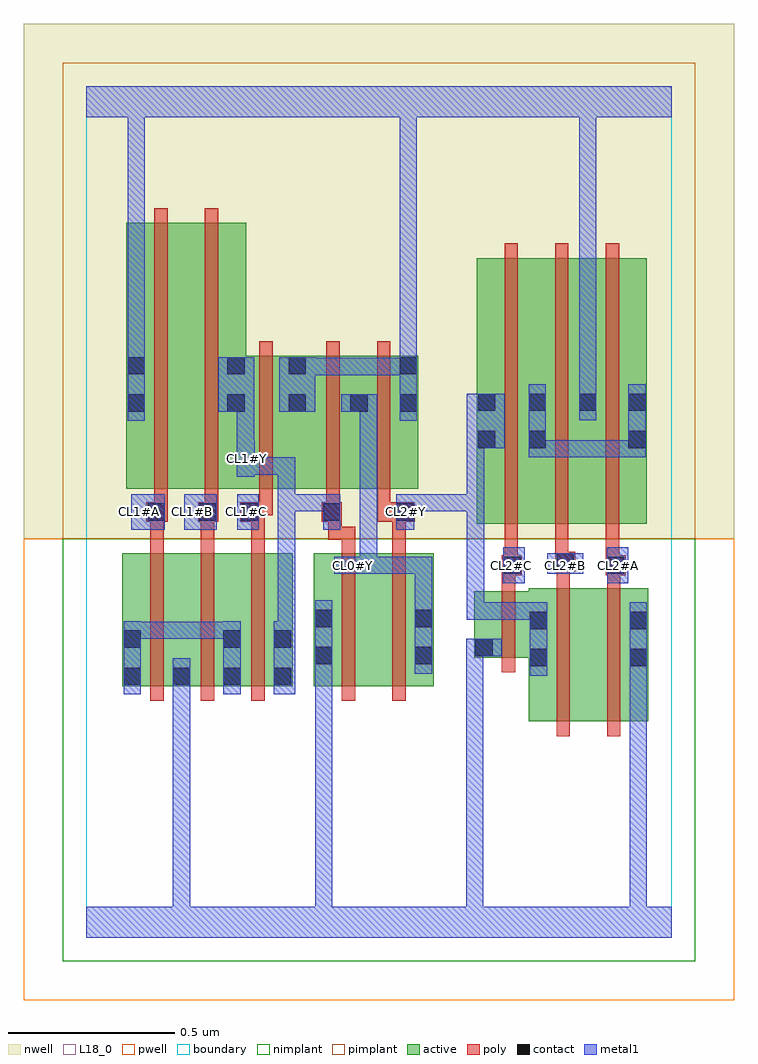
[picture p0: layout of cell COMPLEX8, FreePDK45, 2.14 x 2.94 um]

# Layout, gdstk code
import gdstk
lib = gdstk.Library(unit=1e-6, precision=1e-09)
def R(c, l, rs):  # rectangles x0, y0, x1, y1
    for r in rs: c.add(gdstk.rectangle(r[:2], r[2:], *l))
def A(c, l, x, y, w, h, nx, ny, dx, dy):  # array of equal rectangles
    R(c, l, [(x+i*dx, y+j*dy, x+i*dx+w, y+j*dy+h) for i in range(nx) for j in range(ny)])
active = (1, 0)
pwell = (2, 0)
nwell = (3, 0)
nimplant = (4, 0)
pimplant = (5, 0)
poly = (9, 0)
contact = (10, 0)
metal1 = (11, 0)
L18_0 = (18, 0)
boundary = (235, 0)

complex8 = lib.new_cell('COMPLEX8')
A(complex8, active, 0.256, 0.756, 0.06, 0.4, 3, 1, 0.152, 0)
R(complex8, active, [(1.33,0.65,1.51,1.05), (1.51,0.65,1.69,1.05), (0.108,0.756,0.168,1.156), (0.108,0.756,0.316,1.156), (0.256,0.756,0.468,1.156), (0.408,0.756,0.62,1.156), (0.684,0.756,0.864,1.156), (0.684,0.756,0.744,1.156), (0.864,0.756,1.044,1.156), (0.984,0.756,1.044,1.156), (1.63,0.756,1.69,1.05), (1.33,0.812,1.39,1.028), (1.166,0.842,1.39,1.042), (1.166,0.842,1.226,1.042), (1.174,1.244,1.234,2.044), (1.174,1.244,1.386,2.044), (1.326,1.244,1.538,2.044), (1.478,1.244,1.686,2.044), (1.626,1.244,1.686,2.044), (1.326,1.256,1.386,2.044), (1.478,1.338,1.538,2.044), (0.12,1.35,0.3,2.15), (0.12,1.35,0.18,2.044), (0.3,1.35,0.48,2.15), (0.42,1.35,0.664,1.75), (0.42,1.35,0.48,1.78), (0.604,1.35,0.664,1.75), (0.604,1.35,0.85,1.75), (0.79,1.35,0.998,1.75), (0.938,1.35,0.998,1.75), (0.79,1.578,0.85,1.644)])
R(complex8, pwell, [(-0.188,-0.188,1.948,1.2)])
R(complex8, nwell, [(-0.188,1.2,1.948,2.748)])
R(complex8, nimplant, [(-0.072,-0.072,1.832,1.2)])
R(complex8, pimplant, [(-0.072,1.2,1.832,2.632)])
A(complex8, poly, 0.192, 0.712, 0.04, 0.488, 3, 1, 0.152, 0)
A(complex8, poly, 0.192, 1.16, 0.04, 0.13, 3, 1, 0.152, 0)
A(complex8, poly, 1.258, 1.2, 0.04, 0.888, 3, 1, 0.152, 0)
R(complex8, poly, [(1.414,0.606,1.454,1.094), (1.566,0.606,1.606,1.094), (0.768,0.712,0.808,1.2), (0.92,0.712,0.96,1.2), (1.25,0.798,1.29,1.086), (1.25,1.046,1.29,1.13), (1.414,1.054,1.454,1.14), (1.566,1.054,1.606,1.13), (1.25,1.09,1.31,1.15), (1.562,1.09,1.622,1.15), (1.566,1.09,1.606,1.13), (1.566,1.09,1.606,1.13), (1.41,1.1,1.47,1.16), (1.414,1.1,1.454,1.14), (1.414,1.1,1.454,1.14), (1.258,1.11,1.298,1.24), (1.258,1.11,1.298,1.15), (1.258,1.11,1.298,1.15), (1.562,1.11,1.602,1.24), (1.41,1.12,1.45,1.24), (0.768,1.16,0.808,1.236), (0.92,1.16,0.96,1.29), (0.728,1.196,0.768,1.29), (0.728,1.196,0.808,1.236), (0.18,1.25,0.244,1.31), (0.192,1.25,0.232,1.29), (0.192,1.25,0.232,1.29), (0.336,1.25,0.396,1.31), (0.344,1.25,0.384,1.29), (0.344,1.25,0.384,1.29), (0.462,1.25,0.536,1.31), (0.708,1.25,0.768,1.31), (0.874,1.25,0.988,1.31), (0.92,1.25,0.96,1.29), (0.92,1.25,0.96,1.29), (0.204,1.27,0.244,1.346), (0.356,1.27,0.396,1.346), (0.496,1.27,0.536,1.31), (0.496,1.27,0.56,1.31), (0.52,1.27,0.56,1.346), (0.722,1.27,0.762,1.346), (0.874,1.27,0.914,1.346), (0.204,1.306,0.244,2.194), (0.356,1.306,0.396,2.194), (0.52,1.306,0.56,1.794), (0.722,1.306,0.762,1.794), (0.874,1.306,0.914,1.794)])
A(complex8, contact, 0.26, 0.76, 0.052, 0.052, 3, 1, 0.152, 0)
A(complex8, contact, 1.178, 1.584, 0.052, 0.052, 3, 1, 0.152, 0)
R(complex8, contact, [(0.112,0.76,0.164,0.812), (1.334,0.816,1.386,0.868), (1.634,0.816,1.686,0.868), (0.688,0.822,0.74,0.874), (0.988,0.822,1.04,0.874), (1.17,0.846,1.222,0.898), (0.112,0.872,0.164,0.924), (0.412,0.872,0.464,0.924), (0.564,0.872,0.616,0.924), (1.334,0.928,1.386,0.98), (1.634,0.928,1.686,0.98), (0.688,0.934,0.74,0.986), (0.988,0.934,1.04,0.986), (1.254,1.094,1.306,1.146), (1.566,1.094,1.618,1.146), (1.414,1.104,1.466,1.156), (0.184,1.254,0.236,1.306), (0.34,1.254,0.392,1.306), (0.466,1.254,0.518,1.306), (0.712,1.254,0.764,1.306), (0.932,1.254,0.984,1.306), (1.178,1.472,1.23,1.524), (1.33,1.472,1.382,1.524), (1.63,1.472,1.682,1.524), (0.124,1.582,0.176,1.634), (0.424,1.582,0.476,1.634), (0.608,1.582,0.66,1.634), (0.794,1.582,0.846,1.634), (0.942,1.582,0.994,1.634), (1.63,1.584,1.682,1.636), (0.124,1.694,0.176,1.746), (0.424,1.694,0.476,1.746), (0.608,1.694,0.66,1.746), (0.942,1.694,0.994,1.746)])
R(complex8, metal1, [(0,0,1.76,0.092), (0.26,0.04,0.312,0.092), (0.26,0.04,0.312,0.092), (0.26,0.04,0.312,0.092), (0.26,0.04,0.312,0.092), (0.26,0.04,0.312,0.092), (0.26,0.04,0.312,0.092), (0.26,0.04,0.312,0.092), (0.26,0.04,0.312,0.092), (0.26,0.04,0.312,0.092), (0.26,0.04,0.312,0.092), (0.26,0.04,0.312,0.092), (0.26,0.04,0.312,0.092), (0.26,0.04,0.312,0.784), (0.688,0.04,0.74,0.092), (0.688,0.04,0.74,0.092), (0.688,0.04,0.74,0.092), (0.688,0.04,0.74,0.092), (0.688,0.04,0.74,0.092), (0.688,0.04,0.74,0.092), (0.688,0.04,0.74,0.092), (0.688,0.04,0.74,0.092), (0.688,0.04,0.74,0.092), (0.688,0.04,0.74,0.092), (0.688,0.04,0.74,0.092), (0.688,0.04,0.74,0.092), (0.688,0.04,0.74,0.846), (1.142,0.04,1.194,0.092), (1.142,0.04,1.194,0.092), (1.142,0.04,1.194,0.092), (1.142,0.04,1.194,0.092), (1.142,0.04,1.194,0.092), (1.142,0.04,1.194,0.092), (1.142,0.04,1.194,0.092), (1.142,0.04,1.194,0.092), (1.142,0.04,1.194,0.092), (1.142,0.04,1.194,0.092), (1.142,0.04,1.194,0.898), (1.634,0.04,1.686,0.092), (1.634,0.04,1.686,0.092), (1.634,0.04,1.686,0.092), (1.634,0.04,1.686,0.092), (1.634,0.04,1.686,0.092), (1.634,0.04,1.686,0.092), (1.634,0.04,1.686,0.092), (1.634,0.04,1.686,0.092), (1.634,0.04,1.686,0.092), (1.634,0.04,1.686,0.092), (1.634,0.04,1.686,0.092), (1.634,0.04,1.686,0.092), (1.634,0.04,1.686,0.84), (0.112,0.732,0.164,0.952), (0.26,0.732,0.312,0.84), (0.412,0.732,0.464,0.952), (0.564,0.732,0.628,0.952), (1.334,0.788,1.386,1.008), (1.634,0.788,1.686,1.008), (0.688,0.794,0.74,1.014), (0.988,0.794,1.04,1.014), (1.142,0.846,1.194,0.898), (1.142,0.846,1.194,0.898), (1.142,0.846,1.194,0.898), (1.142,0.846,1.194,0.898), (1.142,0.846,1.194,0.898), (1.142,0.846,1.194,0.898), (1.142,0.846,1.25,0.898), (0.112,0.898,0.164,0.95), (0.112,0.898,0.164,0.95), (0.112,0.898,0.338,0.95), (0.286,0.898,0.338,0.95), (0.286,0.898,0.338,0.95), (0.286,0.898,0.338,0.95), (0.286,0.898,0.464,0.95), (0.576,0.9,0.628,0.952), (0.576,0.9,0.628,0.952), (0.576,0.9,0.628,1.334), (1.144,0.956,1.196,1.008), (1.144,0.956,1.196,1.008), (1.144,0.956,1.196,1.008), (1.144,0.956,1.386,1.008), (1.144,0.956,1.196,1.334), (0.988,0.962,1.04,1.146), (1.254,1.066,1.318,1.174), (1.566,1.066,1.63,1.174), (0.746,1.094,0.874,1.146), (0.822,1.094,1.04,1.146), (0.822,1.094,0.874,1.634), (0.988,1.094,1.04,1.146), (0.988,1.094,1.04,1.146), (0.988,1.094,1.04,1.146), (1.386,1.094,1.494,1.156), (0.134,1.226,0.236,1.334), (0.294,1.226,0.392,1.334), (0.454,1.226,0.518,1.334), (0.712,1.226,0.764,1.334), (0.932,1.226,0.986,1.334), (0.576,1.282,0.628,1.334), (0.576,1.282,0.628,1.334), (0.576,1.282,0.764,1.334), (0.576,1.282,0.628,1.444), (0.934,1.282,0.986,1.334), (0.934,1.282,0.986,1.334), (0.934,1.282,1.196,1.334), (1.144,1.282,1.196,1.334), (1.144,1.282,1.196,1.334), (1.144,1.282,1.196,1.334), (1.144,1.282,1.196,1.524), (0.452,1.386,0.506,1.494), (0.454,1.392,0.506,1.444), (0.454,1.392,0.506,1.444), (0.454,1.392,0.628,1.444), (0.452,1.442,0.504,1.634), (1.33,1.444,1.382,1.664), (1.33,1.444,1.508,1.496), (1.456,1.444,1.508,1.496), (1.456,1.444,1.508,1.496), (1.456,1.444,1.508,1.496), (1.456,1.444,1.682,1.496), (1.63,1.444,1.682,1.496), (1.63,1.444,1.682,1.496), (1.63,1.444,1.682,1.664), (1.144,1.472,1.258,1.636), (0.124,1.554,0.176,1.774), (0.942,1.554,0.994,1.774), (1.482,1.556,1.534,1.664), (0.396,1.582,0.504,1.746), (0.58,1.582,0.688,1.746), (0.766,1.582,0.874,1.634), (0.822,1.582,0.874,1.634), (0.822,1.582,0.874,1.634), (1.482,1.612,1.534,1.664), (1.482,1.612,1.534,1.664), (1.482,1.612,1.534,1.664), (1.482,1.612,1.534,1.664), (1.482,1.612,1.534,1.664), (1.482,1.612,1.534,1.664), (1.482,1.612,1.534,2.52), (0.636,1.692,0.798,1.744), (0.746,1.692,0.798,1.744), (0.746,1.692,0.798,1.744), (0.746,1.692,0.798,1.744), (0.746,1.692,0.994,1.744), (0.942,1.692,0.994,1.744), (0.942,1.692,0.994,1.744), (0.124,1.722,0.176,1.774), (0.124,1.722,0.176,1.774), (0.124,1.722,0.176,1.774), (0.124,1.722,0.176,1.774), (0.124,1.722,0.176,1.774), (0.124,1.722,0.176,1.774), (0.124,1.722,0.176,2.52), (0.942,1.722,0.994,1.774), (0.942,1.722,0.994,1.774), (0.942,1.722,0.994,1.774), (0.942,1.722,0.994,1.774), (0.942,1.722,0.994,1.774), (0.942,1.722,0.994,1.774), (0.942,1.722,0.994,1.774), (0.942,1.722,0.994,1.774), (0.942,1.722,0.994,1.774), (0.942,1.722,0.994,1.774), (0.942,1.722,0.994,1.774), (0.942,1.722,0.994,1.774), (0.942,1.722,0.994,1.774), (0.942,1.722,0.994,1.774), (0.942,1.722,0.994,1.774), (0.942,1.722,0.994,1.774), (0.942,1.722,0.994,2.52), (0,2.468,1.76,2.56), (0.124,2.468,0.176,2.52), (0.124,2.468,0.176,2.52), (1.482,2.468,1.534,2.52), (1.482,2.468,1.534,2.52)])
A(complex8, L18_0, 1.254, 1.094, 0.052, 0.052, 3, 1, 0.16, 0)
A(complex8, L18_0, 0.134, 1.254, 0.052, 0.052, 3, 1, 0.16, 0)
R(complex8, L18_0, [(0,0,1.76,0.092), (0.26,0.04,0.312,0.092), (0.26,0.04,0.312,0.092), (0.26,0.04,0.312,0.092), (0.26,0.04,0.312,0.092), (0.26,0.04,0.312,0.092), (0.26,0.04,0.312,0.092), (0.26,0.04,0.312,0.092), (0.26,0.04,0.312,0.092), (0.26,0.04,0.312,0.092), (0.26,0.04,0.312,0.092), (0.26,0.04,0.312,0.092), (0.26,0.04,0.312,0.092), (0.26,0.04,0.312,0.784), (0.688,0.04,0.74,0.092), (0.688,0.04,0.74,0.092), (0.688,0.04,0.74,0.092), (0.688,0.04,0.74,0.092), (0.688,0.04,0.74,0.092), (0.688,0.04,0.74,0.092), (0.688,0.04,0.74,0.092), (0.688,0.04,0.74,0.092), (0.688,0.04,0.74,0.092), (0.688,0.04,0.74,0.092), (0.688,0.04,0.74,0.092), (0.688,0.04,0.74,0.092), (0.688,0.04,0.74,0.846), (1.142,0.04,1.194,0.092), (1.142,0.04,1.194,0.092), (1.142,0.04,1.194,0.092), (1.142,0.04,1.194,0.092), (1.142,0.04,1.194,0.092), (1.142,0.04,1.194,0.092), (1.142,0.04,1.194,0.092), (1.142,0.04,1.194,0.092), (1.142,0.04,1.194,0.092), (1.142,0.04,1.194,0.092), (1.142,0.04,1.194,0.898), (1.634,0.04,1.686,0.092), (1.634,0.04,1.686,0.092), (1.634,0.04,1.686,0.092), (1.634,0.04,1.686,0.092), (1.634,0.04,1.686,0.092), (1.634,0.04,1.686,0.092), (1.634,0.04,1.686,0.092), (1.634,0.04,1.686,0.092), (1.634,0.04,1.686,0.092), (1.634,0.04,1.686,0.092), (1.634,0.04,1.686,0.092), (1.634,0.04,1.686,0.092), (1.634,0.04,1.686,0.84), (0.26,0.732,0.312,0.84), (0.564,0.732,0.628,0.952), (1.334,0.788,1.386,1.008), (1.634,0.788,1.686,1.008), (0.688,0.794,0.74,1.014), (0.988,0.794,1.04,1.014), (1.142,0.846,1.194,0.898), (1.142,0.846,1.194,0.898), (1.142,0.846,1.194,0.898), (1.142,0.846,1.194,0.898), (1.142,0.846,1.194,0.898), (1.142,0.846,1.194,0.898), (1.142,0.846,1.25,0.898), (0.576,0.9,0.628,0.952), (0.576,0.9,0.628,0.952), (0.576,0.9,0.628,1.334), (1.144,0.956,1.196,1.008), (1.144,0.956,1.196,1.008), (1.144,0.956,1.196,1.008), (1.144,0.956,1.196,1.334), (1.144,0.956,1.386,1.008), (0.988,0.962,1.04,1.146), (1.254,1.066,1.318,1.174), (1.566,1.066,1.63,1.174), (0.746,1.094,0.874,1.146), (0.774,1.094,0.826,1.146), (0.822,1.094,0.874,1.634), (0.822,1.094,1.04,1.146), (0.988,1.094,1.04,1.146), (0.988,1.094,1.04,1.146), (0.988,1.094,1.04,1.146), (1.386,1.094,1.494,1.156), (0.134,1.226,0.236,1.334), (0.294,1.226,0.392,1.334), (0.454,1.226,0.518,1.334), (0.712,1.226,0.764,1.334), (0.932,1.226,0.986,1.334), (0.934,1.254,0.986,1.306), (0.576,1.282,0.628,1.334), (0.576,1.282,0.628,1.334), (0.576,1.282,0.628,1.444), (0.576,1.282,0.764,1.334), (0.934,1.282,0.986,1.334), (0.934,1.282,0.986,1.334), (0.934,1.282,1.196,1.334), (1.144,1.282,1.196,1.334), (1.144,1.282,1.196,1.334), (1.144,1.282,1.196,1.334), (1.144,1.282,1.196,1.524), (0.452,1.386,0.506,1.494), (0.454,1.392,0.506,1.444), (0.454,1.392,0.506,1.444), (0.454,1.392,0.628,1.444), (0.454,1.414,0.506,1.466), (0.452,1.442,0.504,1.634), (1.144,1.472,1.258,1.636), (0.124,1.554,0.176,1.774), (0.942,1.554,0.994,1.774), (1.482,1.556,1.534,1.664), (0.396,1.582,0.504,1.746), (0.58,1.582,0.688,1.746), (0.766,1.582,0.874,1.634), (0.822,1.582,0.874,1.634), (0.822,1.582,0.874,1.634), (1.482,1.612,1.534,1.664), (1.482,1.612,1.534,1.664), (1.482,1.612,1.534,1.664), (1.482,1.612,1.534,1.664), (1.482,1.612,1.534,1.664), (1.482,1.612,1.534,1.664), (1.482,1.612,1.534,2.52), (0.636,1.692,0.798,1.744), (0.746,1.692,0.798,1.744), (0.746,1.692,0.798,1.744), (0.746,1.692,0.798,1.744), (0.746,1.692,0.994,1.744), (0.942,1.692,0.994,1.744), (0.942,1.692,0.994,1.744), (0.124,1.722,0.176,1.774), (0.124,1.722,0.176,1.774), (0.124,1.722,0.176,1.774), (0.124,1.722,0.176,1.774), (0.124,1.722,0.176,1.774), (0.124,1.722,0.176,1.774), (0.124,1.722,0.176,2.52), (0.942,1.722,0.994,1.774), (0.942,1.722,0.994,1.774), (0.942,1.722,0.994,1.774), (0.942,1.722,0.994,1.774), (0.942,1.722,0.994,1.774), (0.942,1.722,0.994,1.774), (0.942,1.722,0.994,1.774), (0.942,1.722,0.994,1.774), (0.942,1.722,0.994,1.774), (0.942,1.722,0.994,1.774), (0.942,1.722,0.994,1.774), (0.942,1.722,0.994,1.774), (0.942,1.722,0.994,1.774), (0.942,1.722,0.994,1.774), (0.942,1.722,0.994,1.774), (0.942,1.722,0.994,1.774), (0.942,1.722,0.994,2.52), (0,2.468,1.76,2.56), (0.124,2.468,0.176,2.52), (0.124,2.468,0.176,2.52), (1.482,2.468,1.534,2.52), (1.482,2.468,1.534,2.52)])
R(complex8, boundary, [(0,0,1.76,2.56)])
complex8.add(gdstk.Label('CL0#Y', (0.8,1.12), layer=11, texttype=0))
complex8.add(gdstk.Label('CL1#A', (0.16,1.28), layer=11, texttype=0))
complex8.add(gdstk.Label('CL1#B', (0.32,1.28), layer=11, texttype=0))
complex8.add(gdstk.Label('CL1#C', (0.48,1.28), layer=11, texttype=0))
complex8.add(gdstk.Label('CL1#Y', (0.48,1.44), layer=11, texttype=0))
complex8.add(gdstk.Label('CL2#A', (1.6,1.12), layer=11, texttype=0))
complex8.add(gdstk.Label('CL2#B', (1.44,1.12), layer=11, texttype=0))
complex8.add(gdstk.Label('CL2#C', (1.28,1.12), layer=11, texttype=0))
complex8.add(gdstk.Label('CL2#Y', (0.96,1.28), layer=11, texttype=0))

lib.write_gds('COMPLEX8.gds')
